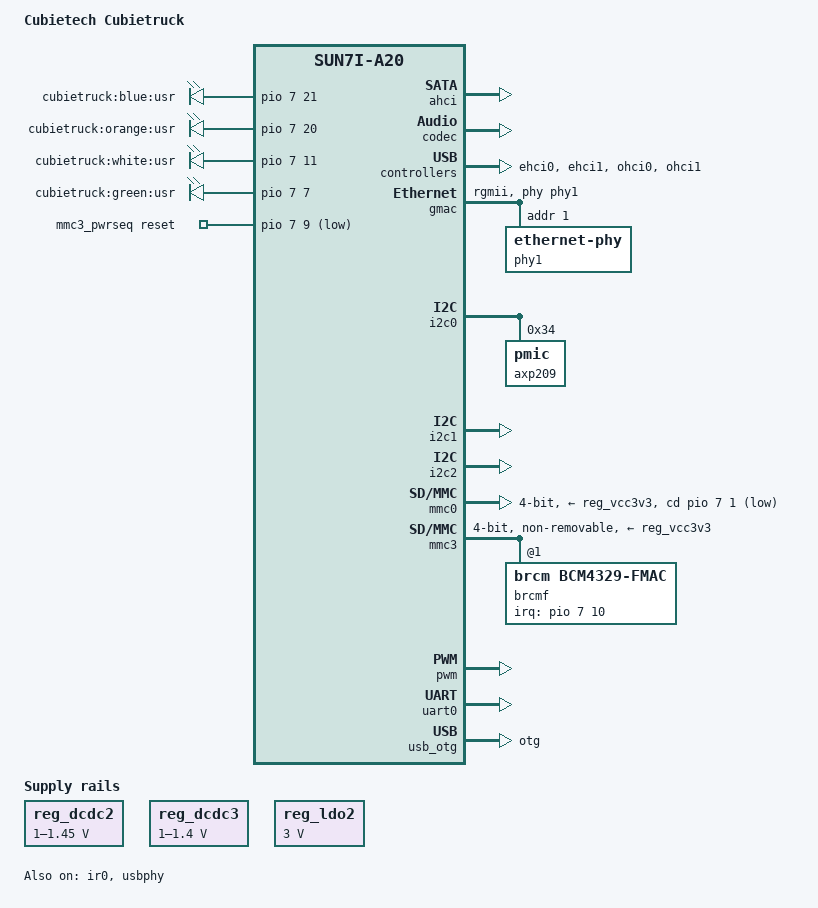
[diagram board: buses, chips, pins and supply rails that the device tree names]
/*
 * Copyright 2013 Oliver Schinagl
 *
 * Oliver Schinagl <oliver@schinagl.nl>
 *
 * This file is dual-licensed: you can use it either under the terms
 * of the GPL or the X11 license, at your option. Note that this dual
 * licensing only applies to this file, and not this project as a
 * whole.
 *
 *  a) This file is free software; you can redistribute it and/or
 *     modify it under the terms of the GNU General Public License as
 *     published by the Free Software Foundation; either version 2 of the
 *     License, or (at your option) any later version.
 *
 *     This file is distributed in the hope that it will be useful,
 *     but WITHOUT ANY WARRANTY; without even the implied warranty of
 *     MERCHANTABILITY or FITNESS FOR A PARTICULAR PURPOSE.  See the
 *     GNU General Public License for more details.
 *
 * Or, alternatively,
 *
 *  b) Permission is hereby granted, free of charge, to any person
 *     obtaining a copy of this software and associated documentation
 *     files (the "Software"), to deal in the Software without
 *     restriction, including without limitation the rights to use,
 *     copy, modify, merge, publish, distribute, sublicense, and/or
 *     sell copies of the Software, and to permit persons to whom the
 *     Software is furnished to do so, subject to the following
 *     conditions:
 *
 *     The above copyright notice and this permission notice shall be
 *     included in all copies or substantial portions of the Software.
 *
 *     THE SOFTWARE IS PROVIDED "AS IS", WITHOUT WARRANTY OF ANY KIND,
 *     EXPRESS OR IMPLIED, INCLUDING BUT NOT LIMITED TO THE WARRANTIES
 *     OF MERCHANTABILITY, FITNESS FOR A PARTICULAR PURPOSE AND
 *     NONINFRINGEMENT. IN NO EVENT SHALL THE AUTHORS OR COPYRIGHT
 *     HOLDERS BE LIABLE FOR ANY CLAIM, DAMAGES OR OTHER LIABILITY,
 *     WHETHER IN AN ACTION OF CONTRACT, TORT OR OTHERWISE, ARISING
 *     FROM, OUT OF OR IN CONNECTION WITH THE SOFTWARE OR THE USE OR
 *     OTHER DEALINGS IN THE SOFTWARE.
 */

/dts-v1/;
#include "sun7i-a20.dtsi"
#include "sunxi-common-regulators.dtsi"

#include <dt-bindings/gpio/gpio.h>
#include <dt-bindings/interrupt-controller/irq.h>
#include <dt-bindings/pinctrl/sun4i-a10.h>

/ {
	model = "Cubietech Cubietruck";
	compatible = "cubietech,cubietruck", "allwinner,sun7i-a20";

	aliases {
		serial0 = &uart0;
	};

	chosen {
		stdout-path = "serial0:115200n8";
	};

	leds {
		compatible = "gpio-leds";
		pinctrl-names = "default";
		pinctrl-0 = <&led_pins_cubietruck>;

		blue {
			label = "cubietruck:blue:usr";
			gpios = <&pio 7 21 GPIO_ACTIVE_HIGH>;
		};

		orange {
			label = "cubietruck:orange:usr";
			gpios = <&pio 7 20 GPIO_ACTIVE_HIGH>;
		};

		white {
			label = "cubietruck:white:usr";
			gpios = <&pio 7 11 GPIO_ACTIVE_HIGH>;
		};

		green {
			label = "cubietruck:green:usr";
			gpios = <&pio 7 7 GPIO_ACTIVE_HIGH>;
		};
	};

	mmc3_pwrseq: mmc3_pwrseq {
		compatible = "mmc-pwrseq-simple";
		pinctrl-names = "default";
		pinctrl-0 = <&mmc3_pwrseq_pin_cubietruck>;
		reset-gpios = <&pio 7 9 GPIO_ACTIVE_LOW>; /* PH9 WIFI_EN */
	};
};

&ahci {
	target-supply = <&reg_ahci_5v>;
	status = "okay";
};

&codec {
	status = "okay";
};

&cpu0 {
	cpu-supply = <&reg_dcdc2>;
};

&ehci0 {
	status = "okay";
};

&ehci1 {
	status = "okay";
};

&gmac {
	pinctrl-names = "default";
	pinctrl-0 = <&gmac_pins_rgmii_a>;
	phy = <&phy1>;
	phy-mode = "rgmii";
	status = "okay";

	phy1: ethernet-phy@1 {
		reg = <1>;
	};
};

&i2c0 {
	pinctrl-names = "default";
	pinctrl-0 = <&i2c0_pins_a>;
	status = "okay";

	axp209: pmic@34 {
		reg = <0x34>;
		interrupt-parent = <&nmi_intc>;
		interrupts = <0 IRQ_TYPE_LEVEL_LOW>;
	};
};

&i2c1 {
	pinctrl-names = "default";
	pinctrl-0 = <&i2c1_pins_a>;
	status = "okay";
};

&i2c2 {
	pinctrl-names = "default";
	pinctrl-0 = <&i2c2_pins_a>;
	status = "okay";
};

&ir0 {
	pinctrl-names = "default";
	pinctrl-0 = <&ir0_rx_pins_a>;
	status = "okay";
};

&mmc0 {
	pinctrl-names = "default";
	pinctrl-0 = <&mmc0_pins_a>, <&mmc0_cd_pin_reference_design>;
	vmmc-supply = <&reg_vcc3v3>;
	bus-width = <4>;
	cd-gpios = <&pio 7 1 GPIO_ACTIVE_HIGH>; /* PH1 */
	cd-inverted;
	status = "okay";
};

&mmc3 {
	pinctrl-names = "default";
	pinctrl-0 = <&mmc3_pins_a>;
	vmmc-supply = <&reg_vcc3v3>;
	mmc-pwrseq = <&mmc3_pwrseq>;
	bus-width = <4>;
	non-removable;
	status = "okay";

	brcmf: bcrmf@1 {
		reg = <1>;
		compatible = "brcm,bcm4329-fmac";
		interrupt-parent = <&pio>;
		interrupts = <7 10 IRQ_TYPE_LEVEL_LOW>; /* PH10 / EINT10 */
		interrupt-names = "host-wake";
	};
};

&mmc3_pins_a {
	/* AP6210 requires pull-up */
	allwinner,pull = <SUN4I_PINCTRL_PULL_UP>;
};

&ohci0 {
	status = "okay";
};

&ohci1 {
	status = "okay";
};

&otg_sram {
	status = "okay";
};

&pio {
	ahci_pwr_pin_cubietruck: ahci_pwr_pin@1 {
		allwinner,pins = "PH12";
		allwinner,function = "gpio_out";
		allwinner,drive = <SUN4I_PINCTRL_10_MA>;
		allwinner,pull = <SUN4I_PINCTRL_NO_PULL>;
	};

	led_pins_cubietruck: led_pins@0 {
		allwinner,pins = "PH7", "PH11", "PH20", "PH21";
		allwinner,function = "gpio_out";
		allwinner,drive = <SUN4I_PINCTRL_10_MA>;
		allwinner,pull = <SUN4I_PINCTRL_NO_PULL>;
	};

	mmc3_pwrseq_pin_cubietruck: mmc3_pwrseq_pin@0 {
		allwinner,pins = "PH9";
		allwinner,function = "gpio_out";
		allwinner,drive = <SUN4I_PINCTRL_10_MA>;
		allwinner,pull = <SUN4I_PINCTRL_NO_PULL>;
	};

	usb0_vbus_pin_a: usb0_vbus_pin@0 {
		allwinner,pins = "PH17";
		allwinner,function = "gpio_out";
		allwinner,drive = <SUN4I_PINCTRL_10_MA>;
		allwinner,pull = <SUN4I_PINCTRL_NO_PULL>;
	};

	usb0_id_detect_pin: usb0_id_detect_pin@0 {
		allwinner,pins = "PH19";
		allwinner,function = "gpio_in";
		allwinner,drive = <SUN4I_PINCTRL_10_MA>;
		allwinner,pull = <SUN4I_PINCTRL_NO_PULL>;
	};

	usb0_vbus_detect_pin: usb0_vbus_detect_pin@0 {
		allwinner,pins = "PH22";
		allwinner,function = "gpio_in";
		allwinner,drive = <SUN4I_PINCTRL_10_MA>;
		allwinner,pull = <SUN4I_PINCTRL_NO_PULL>;
	};
};

&pwm {
	pinctrl-names = "default";
	pinctrl-0 = <&pwm0_pins_a>, <&pwm1_pins_a>;
	status = "okay";
};

&reg_ahci_5v {
	pinctrl-0 = <&ahci_pwr_pin_cubietruck>;
	gpio = <&pio 7 12 GPIO_ACTIVE_HIGH>;
	status = "okay";
};

#include "axp209.dtsi"

&reg_dcdc2 {
	regulator-always-on;
	regulator-min-microvolt = <1000000>;
	regulator-max-microvolt = <1450000>;
	regulator-name = "vdd-cpu";
};

&reg_dcdc3 {
	regulator-always-on;
	regulator-min-microvolt = <1000000>;
	regulator-max-microvolt = <1400000>;
	regulator-name = "vdd-int-dll";
};

&reg_ldo1 {
	regulator-name = "vdd-rtc";
};

&reg_ldo2 {
	regulator-always-on;
	regulator-min-microvolt = <3000000>;
	regulator-max-microvolt = <3000000>;
	regulator-name = "avcc";
};

&reg_usb0_vbus {
	pinctrl-0 = <&usb0_vbus_pin_a>;
	gpio = <&pio 7 17 GPIO_ACTIVE_HIGH>;
	status = "okay";
};

&reg_usb1_vbus {
	status = "okay";
};

&reg_usb2_vbus {
	status = "okay";
};

&uart0 {
	pinctrl-names = "default";
	pinctrl-0 = <&uart0_pins_a>;
	status = "okay";
};

&usb_otg {
	dr_mode = "otg";
	status = "okay";
};

&usbphy {
	pinctrl-names = "default";
	pinctrl-0 = <&usb0_id_detect_pin>, <&usb0_vbus_detect_pin>;
	usb0_id_det-gpios = <&pio 7 19 GPIO_ACTIVE_HIGH>; /* PH19 */
	usb0_vbus_det-gpios = <&pio 7 22 GPIO_ACTIVE_HIGH>; /* PH22 */
	usb0_vbus-supply = <&reg_usb0_vbus>;
	usb1_vbus-supply = <&reg_usb1_vbus>;
	usb2_vbus-supply = <&reg_usb2_vbus>;
	status = "okay";
};
